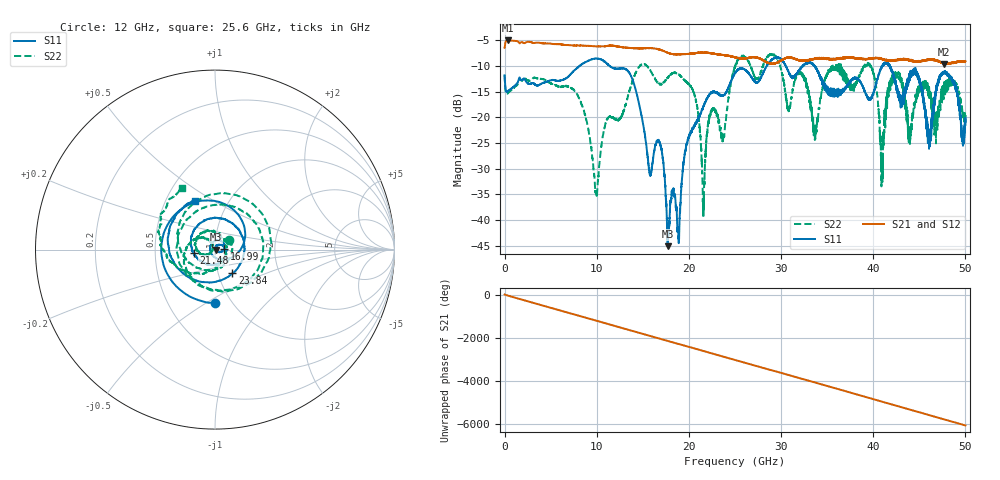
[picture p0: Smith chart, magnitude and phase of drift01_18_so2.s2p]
!Created with skrf (http://scikit-rf.org).
# Hz S RI R 50.0
!freq ReS11 ImS11 ReS21 ImS21 ReS12 ImS12 ReS22 ImS22
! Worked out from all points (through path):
!   10001 points, 300 kHz to 50 GHz, reference 50 ohm
!   highest |S21| = -5.05 dB at 315.3 MHz (marker M1); lowest = -9.7 dB at 47.67 GHz (marker M2)
!   group delay of S21, straight-line fit = 336 ps
!   lowest |S11| = -45.1 dB at 17.69 GHz (marker M3), VSWR 1.01, Z = 50.6 - j0.113 ohm
!   |S11| at or under -10 dB: start of sweep to 8.151 GHz; 11.4 GHz to 28.44 GHz (17.04 GHz wide, 85.5 % of centre); 41.79 GHz to end of sweep (the widest 3 of 10)
!   |S22| runs from -39.6 to -7.6 dB; largest |S21 - S12| = 0.013
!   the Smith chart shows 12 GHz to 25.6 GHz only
!   S11 on the Smith chart (normalised r, x): 12 GHz: 0.84, -0.55; 16.99 GHz: 1.11, +0.00; 21.48 GHz: 0.79, -0.03; 23.84 GHz: 1.17, -0.32; 25.6 GHz: 0.69, +0.42
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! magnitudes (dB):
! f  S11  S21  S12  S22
! 300 kHz  -11.9  -6.5  -6.5  -11.7
! 315.3 MHz  -15.0  -5.1  -5.1  -15.4
! 8.335 GHz  -9.7  -6.0  -6.0  -17.5
! 9.935 GHz  -8.6  -6.2  -6.2  -34.5
! 12 GHz  -10.5  -6.1  -6.1  -20.5
! 15.77 GHz  -31.1  -6.6  -6.6  -10.8
! 16.67 GHz  -24.5  -6.8  -6.8  -13.4
! 16.99 GHz  -26.0  -6.9  -6.9  -13.6
! 17.69 GHz  -45.1  -7.4  -7.4  -12.3
! 20.5 GHz  -22.0  -7.6  -7.5  -15.1
! 21.48 GHz  -18.4  -7.4  -7.4  -32.4
! 22.45 GHz  -15.2  -7.5  -7.5  -18.8
! 23.84 GHz  -15.7  -7.9  -7.9  -23.8
! 25 GHz  -11.4  -8.3  -8.4  -10.3
! 25.6 GHz  -10.6  -8.6  -8.6  -8.1
! 33.34 GHz  -9.6  -8.7  -8.7  -19.6
! 39.49 GHz  -16.5  -8.6  -8.6  -9.9
! 40.95 GHz  -10.2  -8.7  -8.6  -30.6
! 41.67 GHz  -9.8  -8.8  -9.0  -14.6
! 46.08 GHz  -25.0  -8.8  -8.8  -14.9
! 47.67 GHz  -11.4  -9.7  -9.5  -14.5
! 50 GHz  -21.4  -9.1  -9.2  -20.1
